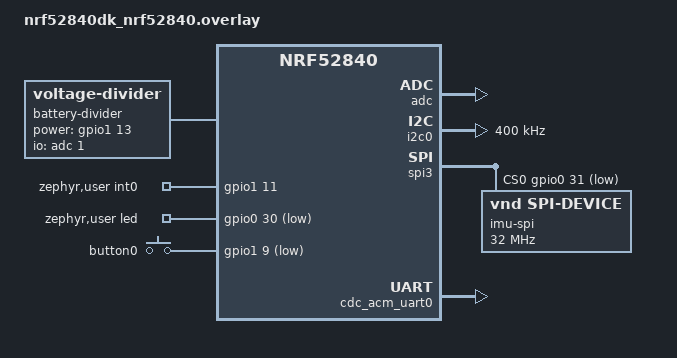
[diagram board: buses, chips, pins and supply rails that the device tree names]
/*
 * 自制 nRF52840 板（基于 nrf52840dk）
 *
 * 与原始版本相比的改动，用 [FIX-n] 标出，其余保持原样。
 */

&pwm0_default {
	group1 {
		psels = <NRF_PSEL(PWM_OUT0, 0, 13)>,
				<NRF_PSEL(PWM_OUT1, 0, 14)>,
				<NRF_PSEL(PWM_OUT2, 0, 15)>;
		nordic,drive-mode = <NRF_DRIVE_D0S1>;
		nordic,invert;
	};
};

&pwm0_sleep {
	group1 {
		psels = <NRF_PSEL(PWM_OUT0, 0, 13)>,
				<NRF_PSEL(PWM_OUT1, 0, 14)>,
				<NRF_PSEL(PWM_OUT2, 0, 15)>;
	};
};

&i2c0_default {
	group1 {
		bias-disable;
	};
};

&i2c0_sleep {
	group1 {
		bias-disable;
	};
};

/* ===== SPI3：IMU ===== */
&spi3_default {
	group1 {
		psels = <NRF_PSEL(SPIM_MOSI, 0, 28)>,
				<NRF_PSEL(SPIM_MISO, 1, 10)>,
				<NRF_PSEL(SPIM_SCK, 0, 29)>;
	};
};

&spi3_sleep {
	group1 {
		psels = <NRF_PSEL(SPIM_MOSI, 0, 28)>,
				<NRF_PSEL(SPIM_MISO, 1, 10)>,
				<NRF_PSEL(SPIM_SCK, 0, 29)>;
		low-power-enable;
	};
};

/*
 * [FIX-4] 关掉 DK 基板 dts 里 status="okay" 的外设，它们的引脚和本板冲突：
 *   &spi1  -> spi1_default: SCK = P0.31 (本板 CS), MOSI = P0.30 (本板 LED)
 *   &qspi  -> P0.17~P0.23 + mx25r64 flash
 *   &nfct  -> P0.09 / P0.10 被锁给 NFC 天线
 * 本板都不用它们，全部关掉。
 */
&spi1 {
	status = "disabled";
};

&qspi {
	status = "disabled";
};

&nfct {
	status = "disabled";
};

/ {
	chosen {
		zephyr,console = &cdc_acm_uart0;
		zephyr,shell-uart = &cdc_acm_uart0;
	};

	battery-divider {
		compatible = "voltage-divider";
		status = "okay";
		io-channels = <&adc 1>;    /* P0.03 / AIN1 */
		output-ohms = <51000>;
		full-ohms = <151000>;
		power-gpios = <&gpio1 13 GPIO_ACTIVE_HIGH>;
	};

	zephyr,user {
		int0-gpios = <&gpio1 11 GPIO_ACTIVE_HIGH>;
		led-gpios = <&gpio0 30 (GPIO_OPEN_DRAIN | GPIO_ACTIVE_LOW)>;
	};
};

&button0 {
	gpios = <&gpio1 9 (GPIO_PULL_UP | GPIO_ACTIVE_LOW)>;
};

/*
 * [FIX-2] 删掉原来的 &reg { regulator-initial-mode = <DCDC>; }
 *   nRF52840 的 dtsi 只有 reg0 / reg1 两个标签，没有裸 `reg`（那是 nRF52832 的）。
 *   而 reg1 = DCDC 已经由 DK 的 dts 设置好了，这里本来就不需要再写。
 */

&adc {
	status = "okay";
};

&i2c0 {
	compatible = "nordic,nrf-twim";
	zephyr,concat-buf-size = <1023>;
	zephyr,flash-buf-max-size = <1023>;
	clock-frequency = <I2C_BITRATE_FAST>;

	imu: imu@0 {
		compatible = "i2c-device";
		label = "imu";
		reg = <0>;
		/* [FIX-1b] 本板 IMU 在 SPI 上，I2C 上没有东西。禁用可跳过 I2C 扫描路径。 */
		status = "disabled";
	};

	mag: mag@0 {
		compatible = "i2c-device";
		label = "mag";
		reg = <0>;
		/*
		 * [FIX-1a] 关键修复。
		 * interface.h:82  #if DT_NODE_HAS_STATUS(DT_NODELABEL(mag), okay)
		 *                   -> #define SENSOR_DIRECT_MAG_EXISTS true
		 * 会让 sensor.c:291 / sensor.c:704 里两段代码参与编译，而那段代码调用的
		 * sensor_imu->ext_passthrough() 已在 2026-08-15 (69f6434) 从 sensor.h 删除，
		 * ext_setup() 的签名也从 1 参变成 3 参 —— 上游 main 至今没同步修。
		 * 本板没有磁力计，禁用此节点即可绕开这个上游编译错误。
		 */
		status = "disabled";
	};
};

&spi3 {
	compatible = "nordic,nrf-spim";
	status = "okay";
	max-frequency = <DT_FREQ_M(32)>;
	pinctrl-0 = <&spi3_default>;
	pinctrl-1 = <&spi3_sleep>;
	pinctrl-names = "default", "sleep";
	cs-gpios = <&gpio0 31 GPIO_ACTIVE_LOW>;

	imu_spi: imu_spi@0 {
		compatible = "vnd,spi-device";
		spi-max-frequency = <DT_FREQ_M(32)>;
		label = "imu-spi";
		reg = <0>;
	};
};

&usbd {
	cdc_acm_uart0: cdc_acm_uart0 {
		compatible = "zephyr,cdc-acm-uart";
	};
};
